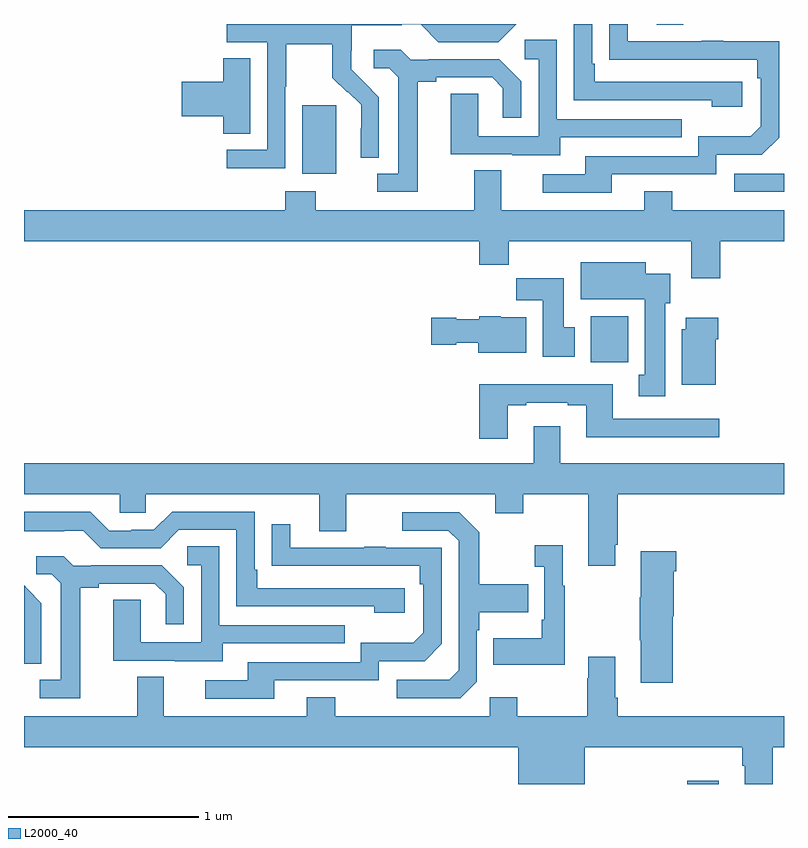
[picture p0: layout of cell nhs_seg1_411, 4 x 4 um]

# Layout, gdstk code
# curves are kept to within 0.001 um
import gdstk
lib = gdstk.Library(unit=1e-6, precision=1e-09)
def R(c, l, rs):  # rectangles x0, y0, x1, y1
    for r in rs: c.add(gdstk.rectangle(r[:2], r[2:], *l))
def P(c, l, *ps):  # polygons
    for p in ps: c.add(gdstk.Polygon(p, *l))
L2000_40 = (2000, 40)

nhs_seg1_411 = lib.new_cell('nhs_seg1_411')
R(nhs_seg1_411, L2000_40, [(136.49,558.199,136.657,558.217), (135.983,560.42,136.18,560.662), (136.737,561.315,137,561.411), (134.465,561.41,134.644,561.771), (136.331,562.194,136.471,562.199), (136.767,562.197,137,562.199)])
P(nhs_seg1_411, L2000_40, [(136.093,561.408),(136.644,561.408),(136.644,561.51),(136.884,561.51),(136.974,561.6),(136.974,562.107),(136.679,562.107),(136.679,562.112),(136.567,562.112),(136.567,562.107),(136.177,562.107),(136.177,562.199),(136.081,562.199),(136.081,562.012),(136.858,562.011),(136.858,561.914),(136.878,561.914),(136.878,561.66),(136.825,561.607),(136.548,561.607),(136.548,561.504),(135.953,561.504),(135.953,561.408),(135.729,561.408),(135.729,561.312),(136.093,561.312)],
  [(134.376,561.868),(134.379,561.868),(134.379,562.092),(134.623,562.092),(134.623,561.917),(134.7,561.84),(134.703,561.843),(134.774,561.773),(134.774,561.65),(134.772,561.65),(134.772,561.496),(134.868,561.496),(134.868,561.814),(134.722,561.962),(134.722,562.059),(134.724,562.059),(134.724,562.193),(134.987,562.193),(134.987,562.197),(135.087,562.197),(135.18,562.104),(135.495,562.104),(135.59,562.199),(135.341,562.199),(135.341,562.197),(135.225,562.197),(135.223,562.199),(134.067,562.199),(134.067,562.104),(134.28,562.104),(134.28,561.537),(134.067,561.537),(134.067,561.439),(134.376,561.439)],
  [(136.78,561.894),(136.003,561.894),(136.003,561.991),(135.99,561.991),(135.99,562.199),(135.894,562.199),(135.894,561.798),(136.619,561.798),(136.619,561.764),(136.78,561.764)],
  [(135.823,561.603),(136.463,561.603),(136.463,561.699),(135.804,561.699),(135.804,562.115),(135.636,562.115),(135.636,562.014),(135.708,562.014),(135.708,561.609),(135.39,561.609),(135.39,561.833),(135.245,561.833),(135.245,561.513),(135.569,561.513),(135.569,561.509),(135.823,561.509)],
  [(135.073,561.896),(135.169,561.896),(135.169,561.918),(135.464,561.918),(135.521,561.861),(135.521,561.705),(135.618,561.705),(135.618,561.898),(135.502,562.014),(135.13,562.014),(135.13,562.011),(135.036,562.011),(134.984,562.063),(134.841,562.063),(134.841,561.966),(134.922,561.966),(134.969,561.919),(134.969,561.411),(134.859,561.411),(134.859,561.315),(135.073,561.315)],
  [(134.191,562.019),(134.048,562.019),(134.048,561.896),(133.83,561.896),(133.83,561.713),(134.048,561.713),(134.048,561.622),(134.191,561.622)],
  [(136.664,561.056),(137,561.056),(137,561.22),(136.413,561.22),(136.413,561.319),(136.265,561.319),(136.265,561.22),(135.511,561.22),(135.511,561.428),(135.371,561.428),(135.371,561.22),(134.535,561.22),(134.535,561.319),(134.375,561.319),(134.375,561.22),(133,561.22),(133,561.056),(135.395,561.056),(135.395,560.932),(135.551,560.932),(135.551,561.056),(136.511,561.056),(136.511,560.862),(136.664,560.862)],
  [(136.375,560.73),(136.402,560.73),(136.402,560.884),(136.273,560.884),(136.273,560.944),(135.929,560.944),(135.929,560.75),(136.268,560.75),(136.268,560.354),(136.235,560.354),(136.235,560.241),(136.375,560.241)],
  [(135.898,560.604),(135.841,560.604),(135.841,560.862),(135.592,560.862),(135.592,560.744),(135.731,560.744),(135.731,560.448),(135.898,560.448)],
  [(135.643,560.656),(135.51,560.656),(135.51,560.662),(135.396,560.662),(135.396,560.644),(135.276,560.644),(135.276,560.652),(135.144,560.652),(135.144,560.51),(135.276,560.51),(135.276,560.522),(135.392,560.522),(135.392,560.468),(135.643,560.468)],
  [(136.642,560.54),(136.655,560.54),(136.655,560.653),(136.484,560.653),(136.484,560.592),(136.463,560.592),(136.463,560.3),(136.642,560.3)],
  [(135.547,560.193),(135.643,560.193),(135.643,560.205),(135.863,560.205),(135.863,560.193),(135.959,560.193),(135.959,560.024),(136.66,560.024),(136.66,560.121),(136.099,560.121),(136.099,560.302),(135.395,560.302),(135.395,560.016),(135.547,560.016)],
  [(136.111,559.459),(136.124,559.459),(136.124,559.724),(137,559.724),(137,559.888),(135.823,559.888),(135.823,560.083),(135.683,560.083),(135.683,559.888),(133,559.888),(133,559.724),(133.503,559.724),(133.503,559.626),(133.641,559.626),(133.641,559.724),(134.555,559.724),(134.555,559.53),(134.695,559.53),(134.695,559.724),(135.479,559.724),(135.479,559.625),(135.627,559.625),(135.627,559.724),(135.971,559.724),(135.971,559.347),(136.111,559.347)],
  [(135.004,559.23),(134.227,559.23),(134.227,559.327),(134.214,559.327),(134.214,559.632),(133.779,559.632),(133.683,559.536),(133.565,559.536),(133.565,559.533),(133.449,559.533),(133.349,559.633),(133,559.633),(133,559.529),(133.211,559.529),(133.211,559.533),(133.311,559.533),(133.404,559.44),(133.719,559.44),(133.815,559.536),(134.118,559.536),(134.118,559.134),(134.843,559.134),(134.843,559.1),(135.004,559.1)],
  [(135.384,558.738),(135.384,559.007),(135.397,559.007),(135.397,559.103),(135.653,559.103),(135.653,559.251),(135.397,559.251),(135.397,559.523),(135.291,559.629),(134.991,559.629),(134.991,559.533),(135.234,559.533),(135.288,559.479),(135.288,558.798),(135.237,558.747),(134.961,558.747),(134.961,558.651),(135.297,558.651)],
  [(134.317,558.744),(134.868,558.744),(134.868,558.846),(135.108,558.846),(135.198,558.936),(135.198,559.443),(134.903,559.443),(134.903,559.448),(134.791,559.448),(134.791,559.443),(134.401,559.443),(134.401,559.567),(134.305,559.567),(134.305,559.348),(135.082,559.347),(135.082,559.25),(135.102,559.25),(135.102,558.996),(135.049,558.943),(134.772,558.943),(134.772,558.84),(134.177,558.84),(134.177,558.744),(133.953,558.744),(133.953,558.648),(134.317,558.648)],
  [(135.847,559.243),(135.835,559.243),(135.835,559.456),(135.687,559.456),(135.687,559.343),(135.738,559.343),(135.738,559.063),(135.726,559.063),(135.726,558.967),(135.469,558.967),(135.469,558.827),(135.847,558.827)],
  [(134.047,558.939),(134.687,558.939),(134.687,559.035),(134.028,559.035),(134.028,559.451),(133.86,559.451),(133.86,559.35),(133.932,559.35),(133.932,558.945),(133.614,558.945),(133.614,559.169),(133.469,559.169),(133.469,558.849),(133.793,558.849),(133.793,558.845),(134.047,558.845)],
  [(136.415,559.083),(136.42,559.083),(136.42,559.319),(136.433,559.319),(136.433,559.423),(136.247,559.423),(136.247,559.183),(136.24,559.183),(136.24,558.955),(136.247,558.955),(136.247,558.732),(136.415,558.732)],
  [(133.297,559.232),(133.393,559.232),(133.393,559.254),(133.688,559.254),(133.745,559.197),(133.745,559.041),(133.842,559.041),(133.842,559.234),(133.726,559.35),(133.354,559.35),(133.354,559.347),(133.26,559.347),(133.208,559.399),(133.065,559.399),(133.065,559.302),(133.146,559.302),(133.193,559.255),(133.193,558.747),(133.083,558.747),(133.083,558.651),(133.297,558.651)],
  [(133.092,559.15),(133.019,559.223),(133.02,559.224),(133,559.244),(133,558.832),(133.092,558.832)],
  [(135.952,558.392),(136.781,558.392),(136.781,558.296),(136.793,558.296),(136.793,558.199),(136.941,558.199),(136.941,558.392),(137,558.392),(137,558.556),(136.124,558.556),(136.124,558.652),(136.111,558.652),(136.111,558.868),(135.971,558.868),(135.971,558.755),(135.964,558.755),(135.964,558.556),(135.597,558.556),(135.597,558.655),(135.45,558.655),(135.45,558.556),(134.637,558.556),(134.637,558.655),(134.489,558.655),(134.489,558.556),(133.735,558.556),(133.735,558.764),(133.595,558.764),(133.595,558.556),(133,558.556),(133,558.392),(135.602,558.392),(135.602,558.199),(135.952,558.199)])

lib.write_gds('nhs_seg1_411.gds')
